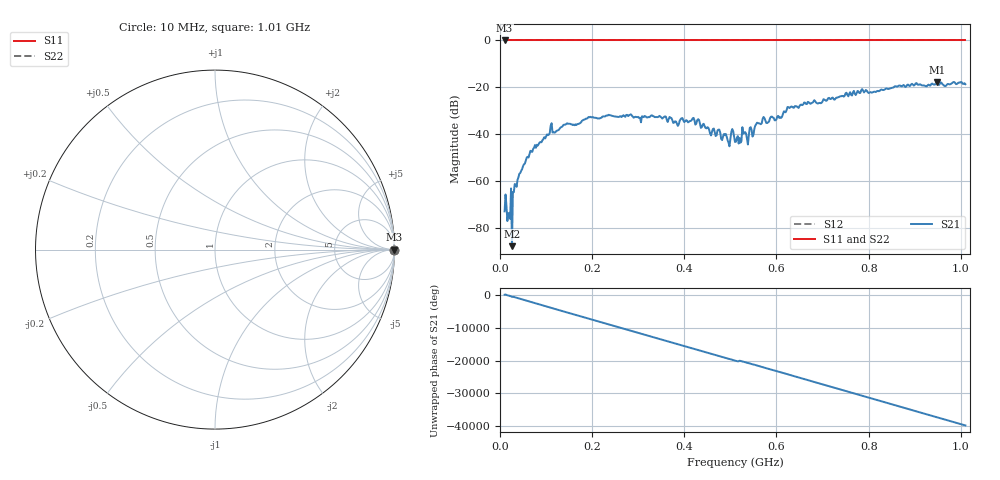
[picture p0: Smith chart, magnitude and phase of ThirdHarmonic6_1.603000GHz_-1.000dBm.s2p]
! 8/16/2025 7:07:09 PM
! C:\ANRITSUVNA\TEMP\TEMP.S2P
! CHANNEL.1
! TR.MEASUREMENT
! RAW.DATA
! RF.CORRECTION.OFF
! AVERAGING.OFF
! IF.BANDWIDTH: 5KHZ
! SWEEPTYPE:  FREQ.SWEEP(Linear)
! Reference Plane Port Info
! PORT:  PORT1  PORT2
! DISTANCE:  0  m  0  m
! TIME:  0  s  0  s
! PHASE.OFFSET:  0  deg.  0  deg.
! LOSS:  0  dB  0  dB
! REF.LOSS:  0  dB  0  dB
! REF.FREQ:  0  Hz  0  Hz
! Power Info
! POWER:  -20  dBm  -20  dBm
! EFF.POWER:  -20  dBm  -20  dBm
! SOURCE.ATTEN:  0  dB  0  dB
! TEST.ATTEN:  0  dB  0  dB
# GHZ S RI R 50.0
! FREQ.GHZ  S11RE  S11IM  S21RE  S21IM  S12RE  S12IM  S22RE  S22IM
!; PortSelection: Port_12
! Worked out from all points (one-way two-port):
!   501 points, 10 MHz to 1.01 GHz, reference 50 ohm
!   highest |S21| = -17.63 dB at 948 MHz (marker M1); lowest = -87.5 dB at 26 MHz (marker M2)
!   lowest |S11| = 0.0 dB at 10 MHz (marker M3)
!   |S11| at or under -10 dB: nowhere
!   |S22| runs from 0.0 to 0.0 dB; largest |S21 - S12| = 1.1
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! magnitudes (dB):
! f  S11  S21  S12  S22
! 10 MHz  0.0  -72.7  0.0  0.0
! 18 MHz  0.0  -73.6  0.0  0.0
! 26 MHz  0.0  -87.5  0.0  0.0
! 42 MHz  0.0  -56.7  0.0  0.0
! 76 MHz  0.0  -44.5  0.0  0.0
! 110 MHz  0.0  -36.3  0.0  0.0
! 178 MHz  0.0  -34.2  0.0  0.0
! 344 MHz  0.0  -32.5  0.0  0.0
! 418 MHz  0.0  -33.2  0.0  0.0
! 496 MHz  0.0  -43.5  0.0  0.0
! 504 MHz  0.0  -37.7  0.0  0.0
! 510 MHz  0.0  -43.2  0.0  0.0
! 520 MHz  0.0  -41.5  0.0  0.0
! 530 MHz  0.0  -39.1  0.0  0.0
! 536 MHz  0.0  -41.8  0.0  0.0
! 558 MHz  0.0  -35.0  0.0  0.0
! 610 MHz  0.0  -32.9  0.0  0.0
! 628 MHz  0.0  -28.7  0.0  0.0
! 678 MHz  0.0  -26.5  0.0  0.0
! 844 MHz  0.0  -20.6  0.0  0.0
! 948 MHz  0.0  -17.6  0.0  0.0
! 1.01 GHz  0.0  -18.6  0.0  0.0
